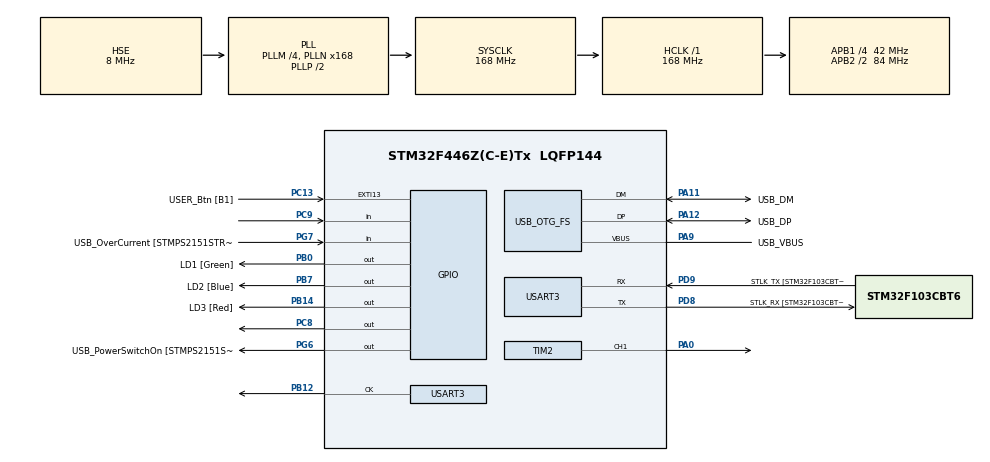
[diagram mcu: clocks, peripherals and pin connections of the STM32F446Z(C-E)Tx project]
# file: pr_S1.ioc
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Mcu.Family=STM32F4
Mcu.Name=STM32F446Z(C-E)Tx
Mcu.Package=LQFP144
NVIC.PriorityGroup=NVIC_PRIORITYGROUP_4
NVIC.TIM2_IRQn=true\:0\:0\:false\:false\:true\:true\:true\:true
PA0-WKUP.Signal=S_TIM2_CH1_ETR
PA10.GPIO_Label=USB_ID
PA10.Signal=USB_OTG_FS_ID
PA11.GPIO_Label=USB_DM
PA11.Mode=Device_Only
PA11.Signal=USB_OTG_FS_DM
PA12.GPIO_Label=USB_DP
PA12.Mode=Device_Only
PA12.Signal=USB_OTG_FS_DP
PA13.GPIO_Label=TMS
PA13.Mode=Serial_Wire
PA13.Signal=SYS_JTMS-SWDIO
PA14.GPIO_Label=TCK
PA14.Mode=Serial_Wire
PA14.Signal=SYS_JTCK-SWCLK
PA9.GPIO_Label=USB_VBUS
PA9.Mode=Activate_VBUS
PA9.Signal=USB_OTG_FS_VBUS
PB0.GPIO_Label=LD1 [Green]
PB0.Signal=GPIO_Output
PB12.Mode=Synchronous
PB12.Signal=USART3_CK
PB14.GPIO_Label=LD3 [Red]
PB14.Signal=GPIO_Output
PB7.GPIO_Label=LD2 [Blue]
PB7.Signal=GPIO_Output
PC13.GPIO_Label=USER_Btn [B1]
PC13.Signal=GPXTI13
PC14-OSC32_IN.Mode=LSE-External-Oscillator
PC14-OSC32_IN.Signal=RCC_OSC32_IN
PC15-OSC32_OUT.Mode=LSE-External-Oscillator
PC15-OSC32_OUT.Signal=RCC_OSC32_OUT
PC8.Signal=GPIO_Output
PC9.Signal=GPIO_Input
PD8.GPIO_Label=STLK_RX [STM32F103CBT6_PA3]
PD8.Mode=Synchronous
PD8.Signal=USART3_TX
PD9.GPIO_Label=STLK_TX [STM32F103CBT6_PA2]
PD9.Mode=Synchronous
PD9.Signal=USART3_RX
PG6.GPIO_Label=USB_PowerSwitchOn [STMPS2151STR_EN]
PG6.Signal=GPIO_Output
PG7.GPIO_Label=USB_OverCurrent [STMPS2151STR_FAULT]
PG7.Signal=GPIO_Input
PH0-OSC_IN.GPIO_Label=MCO [STM32F103CBT6_PA8]
PH0-OSC_IN.Mode=HSE-External-Clock-Source
PH0-OSC_IN.Signal=RCC_OSC_IN
PH1-OSC_OUT.Mode=HSE-External-Clock-Source
PH1-OSC_OUT.Signal=RCC_OSC_OUT
ProjectManager.HeapSize=0x200
ProjectManager.StackSize=0x400
ProjectManager.TargetToolchain=MDK-ARM V5.32
RCC.48MHZClocksFreq_Value=24000000
RCC.AHBFreq_Value=168000000
RCC.APB1CLKDivider=RCC_HCLK_DIV4
RCC.APB1Freq_Value=42000000
RCC.APB1TimFreq_Value=84000000
RCC.APB2CLKDivider=RCC_HCLK_DIV2
RCC.APB2Freq_Value=84000000
RCC.APB2TimFreq_Value=168000000
RCC.CortexFreq_Value=168000000
RCC.HCLKFreq_Value=168000000
RCC.HSE_VALUE=8000000
RCC.HSI_VALUE=16000000
RCC.PLLM=4
RCC.PLLMUL=RCC_PLL_MUL9
RCC.PLLN=168
RCC.PLLQ=7
RCC.PRESCALERUSB=RCC_USBCLKSOURCE_PLL_DIV1_5
RCC.SYSCLKFreq_VALUE=168000000
RCC.SYSCLKSource=RCC_SYSCLKSOURCE_PLLCLK
RCC.SYSCLKSourceVirtual=RCC_SYSCLKSOURCE_PLLCLK
RCC.USBFreq_Value=48000000
RCC.VCOOutputFreq_Value=336000000
SH.S_TIM2_CH1_ETR.0=TIM2_CH1,PWM Generation1 CH1
TIM2.Channel-PWM\ Generation1\ CH1=TIM_CHANNEL_1
TIM2.Period=999
TIM2.Prescaler=1679
USART3.VirtualMode=VM_SYNC
USB_OTG_FS.VirtualMode=Device_Only
VP_TIM2_VS_ClockSourceINT.Mode=Internal
VP_TIM6_VS_ClockSourceINT.Mode=Enable_Timer
board=NUCLEO-F446ZE

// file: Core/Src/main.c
/* USER CODE BEGIN Header */
/**
  ******************************************************************************
  * @file           : main.c
  * @brief          : Main program body
  ******************************************************************************
  * @attention
  *
  * Copyright (c) 2023 STMicroelectronics.
  * All rights reserved.
  *
  * This software is licensed under terms that can be found in the LICENSE file
  * in the root directory of this software component.
  * If no LICENSE file comes with this software, it is provided AS-IS.
  *
  ******************************************************************************
  */
/* USER CODE END Header */
#include "main.h"

/* USER CODE BEGIN Includes */
#include <stdio.h>
#include <string.h>
#include <math.h>
/* USER CODE END Includes */

TIM_HandleTypeDef htim2;
TIM_HandleTypeDef htim6;

USART_HandleTypeDef husart3;

PCD_HandleTypeDef hpcd_USB_OTG_FS;

/* USER CODE BEGIN PV */

const int motor_90_CCR = 25;					// CCR value for motor at 90 degree (Up)
const int motor_n90_CCR = 125;				// CCR value for motor at -90 degree (Down)
int angle_pre = 0;										// last angle set
int angle_cur = 0;										// current angle set
const uint16_t delay_10us = 0x00BF;		// for loop count down value that takes about 11us (0x00B8 for 10us)
const uint16x2_t timer6_psc = 3;			// timer 6 prescale
char msg[100] = {0};									// char arrary for serial prompt
const float center_point = 15.0;			// distance in cm from sensor to beam center point
const float PI = 3.14159265358979;

/* USER CODE END PV */

void SystemClock_Config(void);
static void MX_GPIO_Init(void);
static void MX_TIM2_Init(void);
static void MX_TIM6_Init(void);
static void MX_USART3_Init(void);
static void MX_USB_OTG_FS_PCD_Init(void);
/* USER CODE BEGIN PFP */

void print_msg(char * message);
void servo_write(int angle);
void servo_sweep(int angle_start, int angle_end);
float get_ball_dis(void);
void delay_motor(void);
void delay_sensor(void);

/* USER CODE END PFP */

int main(void)
{

  /* MCU Configuration--------------------------------------------------------*/

  /* Reset of all peripherals, Initializes the Flash interface and the Systick. */
  HAL_Init();

  /* Configure the system clock */
  SystemClock_Config();

  /* Initialize all configured peripherals */
  MX_GPIO_Init();
  MX_TIM2_Init();
  MX_TIM6_Init();
  MX_USART3_Init();
  MX_USB_OTG_FS_PCD_Init();
  /* USER CODE BEGIN 2 */

	print_msg("=================== prog start ===================\n");
	HAL_TIM_PWM_Start(&htim2, TIM_CHANNEL_1);		// start PWM
	//htim2.Instance -> CCR1 = 75;	// initialize motor
	servo_write(0);
	HAL_Delay(500);
	HAL_TIM_Base_Start(&htim6);		// start timer
	HAL_Delay(500);
	print_msg("=================== timers starts ===================\n");

	//Check: Control Parameters
	const float T = 0.222;
	const float TAU = 0.00001;
	const float KP = -0.8;
	const float KD = -0.08;

	//Fixed
	const float A = KP * (1 + 2 * TAU / T) + 2 * KD / T;
	const float B = KP * (1 - 2 * TAU / T) - 2 * KD / T;
	const float C = (1 + 2 * TAU / T);
	const float D = (1 - 2 * TAU / T);
	const float ALPHA = - D / C;
	const float BETA = A / C;
	const float GAMMA = B / C;

	const float REF = 0;
	float ball_dis = 0.0;
	float servo_ag = 0.0;
	int servo_angle = 0;
	float u, up, e, ep;

  /* USER CODE END 2 */

  /* Infinite loop */
  while (1)
  {

		//*			CONTROL
		ball_dis = get_ball_dis();

		//Controller
		e = REF - (ball_dis / 100.0); //Check sign
		u = ALPHA * up + BETA * e + GAMMA * ep;

		//Output u to motor
		servo_angle = (int) round(asin((11.0 / 5.056) * sin((double) u)) * 180.0 / PI);
		servo_write(servo_angle);
		delay_motor();

		//Pass current u and e to up and ep
		up = u;
		ep = e;
		// */

		/////////////////// print testing /////////////////////
		/*
		sprintf(msg, "ball_dis: %lf    u: %lf    servo_angle: %d\n", ball_dis, u, servo_angle);
		print_msg(msg);
		// */

		/*			TEST
		servo_write(20);
		delay_motor();
		servo_write(-20);
		delay_motor();
		// */

  }
}

void SystemClock_Config(void)
{
  RCC_OscInitTypeDef RCC_OscInitStruct = {0};
  RCC_ClkInitTypeDef RCC_ClkInitStruct = {0};

  /** Configure the main internal regulator output voltage
  */
  __HAL_RCC_PWR_CLK_ENABLE();
  __HAL_PWR_VOLTAGESCALING_CONFIG(PWR_REGULATOR_VOLTAGE_SCALE1);

  /** Initializes the RCC Oscillators according to the specified parameters
  * in the RCC_OscInitTypeDef structure.
  */
  RCC_OscInitStruct.OscillatorType = RCC_OSCILLATORTYPE_HSE;
  RCC_OscInitStruct.HSEState = RCC_HSE_BYPASS;
  RCC_OscInitStruct.PLL.PLLState = RCC_PLL_ON;
  RCC_OscInitStruct.PLL.PLLSource = RCC_PLLSOURCE_HSE;
  RCC_OscInitStruct.PLL.PLLM = 4;
  RCC_OscInitStruct.PLL.PLLN = 168;
  RCC_OscInitStruct.PLL.PLLP = RCC_PLLP_DIV2;
  RCC_OscInitStruct.PLL.PLLQ = 7;
  RCC_OscInitStruct.PLL.PLLR = 2;
  if (HAL_RCC_OscConfig(&RCC_OscInitStruct) != HAL_OK)
  {
    Error_Handler();
  }

  /** Initializes the CPU, AHB and APB buses clocks
  */
  RCC_ClkInitStruct.ClockType = RCC_CLOCKTYPE_HCLK|RCC_CLOCKTYPE_SYSCLK
                              |RCC_CLOCKTYPE_PCLK1|RCC_CLOCKTYPE_PCLK2;
  RCC_ClkInitStruct.SYSCLKSource = RCC_SYSCLKSOURCE_PLLCLK;
  RCC_ClkInitStruct.AHBCLKDivider = RCC_SYSCLK_DIV1;
  RCC_ClkInitStruct.APB1CLKDivider = RCC_HCLK_DIV4;
  RCC_ClkInitStruct.APB2CLKDivider = RCC_HCLK_DIV2;

  if (HAL_RCC_ClockConfig(&RCC_ClkInitStruct, FLASH_LATENCY_5) != HAL_OK)
  {
    Error_Handler();
  }
}

static void MX_TIM2_Init(void)
{

  TIM_ClockConfigTypeDef sClockSourceConfig = {0};
  TIM_MasterConfigTypeDef sMasterConfig = {0};
  TIM_OC_InitTypeDef sConfigOC = {0};

  htim2.Instance = TIM2;
  htim2.Init.Prescaler = 1679;
  htim2.Init.CounterMode = TIM_COUNTERMODE_UP;
  htim2.Init.Period = 999;
  htim2.Init.ClockDivision = TIM_CLOCKDIVISION_DIV1;
  htim2.Init.AutoReloadPreload = TIM_AUTORELOAD_PRELOAD_DISABLE;
  if (HAL_TIM_Base_Init(&htim2) != HAL_OK)
  {
    Error_Handler();
  }
  sClockSourceConfig.ClockSource = TIM_CLOCKSOURCE_INTERNAL;
  if (HAL_TIM_ConfigClockSource(&htim2, &sClockSourceConfig) != HAL_OK)
  {
    Error_Handler();
  }
  if (HAL_TIM_PWM_Init(&htim2) != HAL_OK)
  {
    Error_Handler();
  }
  sMasterConfig.MasterOutputTrigger = TIM_TRGO_RESET;
  sMasterConfig.MasterSlaveMode = TIM_MASTERSLAVEMODE_DISABLE;
  if (HAL_TIMEx_MasterConfigSynchronization(&htim2, &sMasterConfig) != HAL_OK)
  {
    Error_Handler();
  }
  sConfigOC.OCMode = TIM_OCMODE_PWM1;
  sConfigOC.Pulse = 0;
  sConfigOC.OCPolarity = TIM_OCPOLARITY_HIGH;
  sConfigOC.OCFastMode = TIM_OCFAST_DISABLE;
  if (HAL_TIM_PWM_ConfigChannel(&htim2, &sConfigOC, TIM_CHANNEL_1) != HAL_OK)
  {
    Error_Handler();
  }
  HAL_TIM_MspPostInit(&htim2);

}

static void MX_TIM6_Init(void)
{

  TIM_MasterConfigTypeDef sMasterConfig = {0};

  htim6.Instance = TIM6;
  htim6.Init.Prescaler = timer6_psc - 1;
  htim6.Init.CounterMode = TIM_COUNTERMODE_UP;
  htim6.Init.Period = 65535;
  htim6.Init.AutoReloadPreload = TIM_AUTORELOAD_PRELOAD_DISABLE;
  if (HAL_TIM_Base_Init(&htim6) != HAL_OK)
  {
    Error_Handler();
  }
  sMasterConfig.MasterOutputTrigger = TIM_TRGO_RESET;
  sMasterConfig.MasterSlaveMode = TIM_MASTERSLAVEMODE_DISABLE;
  if (HAL_TIMEx_MasterConfigSynchronization(&htim6, &sMasterConfig) != HAL_OK)
  {
    Error_Handler();
  }

}

static void MX_USART3_Init(void)
{

  husart3.Instance = USART3;
  husart3.Init.BaudRate = 115200;
  husart3.Init.WordLength = USART_WORDLENGTH_8B;
  husart3.Init.StopBits = USART_STOPBITS_1;
  husart3.Init.Parity = USART_PARITY_NONE;
  husart3.Init.Mode = USART_MODE_TX_RX;
  husart3.Init.CLKPolarity = USART_POLARITY_LOW;
  husart3.Init.CLKPhase = USART_PHASE_1EDGE;
  husart3.Init.CLKLastBit = USART_LASTBIT_DISABLE;
  if (HAL_USART_Init(&husart3) != HAL_OK)
  {
    Error_Handler();
  }

}

static void MX_USB_OTG_FS_PCD_Init(void)
{

  hpcd_USB_OTG_FS.Instance = USB_OTG_FS;
  hpcd_USB_OTG_FS.Init.dev_endpoints = 6;
  hpcd_USB_OTG_FS.Init.speed = PCD_SPEED_FULL;
  hpcd_USB_OTG_FS.Init.dma_enable = DISABLE;
  hpcd_USB_OTG_FS.Init.phy_itface = PCD_PHY_EMBEDDED;
  hpcd_USB_OTG_FS.Init.Sof_enable = DISABLE;
  hpcd_USB_OTG_FS.Init.low_power_enable = DISABLE;
  hpcd_USB_OTG_FS.Init.lpm_enable = DISABLE;
  hpcd_USB_OTG_FS.Init.vbus_sensing_enable = ENABLE;
  hpcd_USB_OTG_FS.Init.use_dedicated_ep1 = DISABLE;
  if (HAL_PCD_Init(&hpcd_USB_OTG_FS) != HAL_OK)
  {
    Error_Handler();
  }

}

static void MX_GPIO_Init(void)
{
  GPIO_InitTypeDef GPIO_InitStruct = {0};

  /* GPIO Ports Clock Enable */
  __HAL_RCC_GPIOC_CLK_ENABLE();
  __HAL_RCC_GPIOH_CLK_ENABLE();
  __HAL_RCC_GPIOA_CLK_ENABLE();
  __HAL_RCC_GPIOB_CLK_ENABLE();
  __HAL_RCC_GPIOD_CLK_ENABLE();
  __HAL_RCC_GPIOG_CLK_ENABLE();

  /*Configure GPIO pin Output Level */
  HAL_GPIO_WritePin(GPIOB, LD1_Pin|LD3_Pin|LD2_Pin, GPIO_PIN_RESET);

  /*Configure GPIO pin Output Level */
  HAL_GPIO_WritePin(USB_PowerSwitchOn_GPIO_Port, USB_PowerSwitchOn_Pin, GPIO_PIN_RESET);

  /*Configure GPIO pin Output Level */
  HAL_GPIO_WritePin(GPIOC, GPIO_PIN_8, GPIO_PIN_RESET);

  /*Configure GPIO pin : USER_Btn_Pin */
  GPIO_InitStruct.Pin = USER_Btn_Pin;
  GPIO_InitStruct.Mode = GPIO_MODE_IT_RISING;
  GPIO_InitStruct.Pull = GPIO_NOPULL;
  HAL_GPIO_Init(USER_Btn_GPIO_Port, &GPIO_InitStruct);

  /*Configure GPIO pins : LD1_Pin LD3_Pin LD2_Pin */
  GPIO_InitStruct.Pin = LD1_Pin|LD3_Pin|LD2_Pin;
  GPIO_InitStruct.Mode = GPIO_MODE_OUTPUT_PP;
  GPIO_InitStruct.Pull = GPIO_NOPULL;
  GPIO_InitStruct.Speed = GPIO_SPEED_FREQ_LOW;
  HAL_GPIO_Init(GPIOB, &GPIO_InitStruct);

  /*Configure GPIO pin : USB_PowerSwitchOn_Pin */
  GPIO_InitStruct.Pin = USB_PowerSwitchOn_Pin;
  GPIO_InitStruct.Mode = GPIO_MODE_OUTPUT_PP;
  GPIO_InitStruct.Pull = GPIO_NOPULL;
  GPIO_InitStruct.Speed = GPIO_SPEED_FREQ_LOW;
  HAL_GPIO_Init(USB_PowerSwitchOn_GPIO_Port, &GPIO_InitStruct);

  /*Configure GPIO pin : USB_OverCurrent_Pin */
  GPIO_InitStruct.Pin = USB_OverCurrent_Pin;
  GPIO_InitStruct.Mode = GPIO_MODE_INPUT;
  GPIO_InitStruct.Pull = GPIO_NOPULL;
  HAL_GPIO_Init(USB_OverCurrent_GPIO_Port, &GPIO_InitStruct);

  /*Configure GPIO pin : PC8 */
  GPIO_InitStruct.Pin = GPIO_PIN_8;
  GPIO_InitStruct.Mode = GPIO_MODE_OUTPUT_PP;
  GPIO_InitStruct.Pull = GPIO_NOPULL;
  GPIO_InitStruct.Speed = GPIO_SPEED_FREQ_LOW;
  HAL_GPIO_Init(GPIOC, &GPIO_InitStruct);

  /*Configure GPIO pin : PC9 */
  GPIO_InitStruct.Pin = GPIO_PIN_9;
  GPIO_InitStruct.Mode = GPIO_MODE_INPUT;
  GPIO_InitStruct.Pull = GPIO_NOPULL;
  HAL_GPIO_Init(GPIOC, &GPIO_InitStruct);

}

/* USER CODE BEGIN 4 */

/**
	* function prompt to serial port
  */
void print_msg(char * message) {
  HAL_USART_Transmit(&husart3, (uint8_t *)message, strlen(message), 100);
}

/**
	* delay after setting motor angle
  */
void delay_motor(void){
	int d = (int) fabs((double)(angle_cur - angle_pre));
	d = (d - 2) * 5 + 200;
	HAL_Delay(d);

	/////////////////// print testing /////////////////////
	/*
	sprintf(msg, "%d\n", d);
	print_msg(msg);
	HAL_Delay(100);
	// */
}

/**
	* delay after checking sensor
  */
void delay_sensor(void){
	for(volatile int i = 0 ; i < delay_10us ; i++){}
}

/**
	* set motor to "angle" degree and keep still at that degree
	* angle = 0 degree --> middle position.
	*/
void servo_write(int angle){
	angle_pre = angle_cur;
	angle_cur = angle;
	angle = 93 - angle;		// convert to normal angle scale
	angle = (int) round((angle / 180.0) * ((motor_n90_CCR - motor_90_CCR) * 1.0)) + motor_90_CCR;		// conver to CCR value domain
	htim2.Instance -> CCR1 = angle;
}

/**
	* move motor from "angle_start" degree to "angle_end" and kepp still at "angle_end'
	* angle = 0 degree --> middle position.
	*/
void servo_sweep(int angle_start, int angle_end){
	// set variable
	int step = 1;
	if(angle_end < angle_start){
		step = -1;
	}
	int angle = angle_start;

	// loop to travel angle from angle_start to angle_end
	while(angle != angle_end){
		servo_write(angle);
		HAL_Delay(5);
		angle += step;

		/////////////////// print testing /////////////////////
		/*
		sprintf(msg, "%d\n", angle);
		print_msg(msg);
		HAL_Delay(100);
		// */
	}
}

/**
	* return distance from ball 0 position
	* 0 position at middle of te beam
	*/
float get_ball_dis(void){
	//set variables
	int timerVal = 0;
	float ball_dis = 0.0;

	//send trigger
	HAL_GPIO_WritePin(GPIOC, GPIO_PIN_8, GPIO_PIN_SET);
	for(volatile int i = 0 ; i < delay_10us ; i++){}
	HAL_GPIO_WritePin(GPIOC, GPIO_PIN_8, GPIO_PIN_RESET);

	while(HAL_GPIO_ReadPin(GPIOC, GPIO_PIN_9) == GPIO_PIN_RESET){}	// waiting echo starts
	timerVal = __HAL_TIM_GET_COUNTER(&htim6);												// start timing
	while(HAL_GPIO_ReadPin(GPIOC, GPIO_PIN_9) == GPIO_PIN_SET){}		// waiting echo ends
	if(__HAL_TIM_GET_COUNTER(&htim6) < timerVal){										// end timing
		timerVal = (65536 - timerVal) + __HAL_TIM_GET_COUNTER(&htim6);
	}else{
		timerVal = __HAL_TIM_GET_COUNTER(&htim6) - timerVal;
	}

	// calculating distance
	ball_dis = timerVal * timer6_psc / 93.48 / 58.0;

	/////////////////// print testing /////////////////////
	/*
	//sprintf(msg, "%lf\n", ball_dis);
	sprintf(msg, "%d   ", timerVal);
	print_msg(msg);
	HAL_Delay(100);
	// */

	return (ball_dis - center_point + 1.5);
	//return ball_dis;
}

/* USER CODE END 4 */

void Error_Handler(void)
{
  __disable_irq();
  while (1)
  {
  }
}
